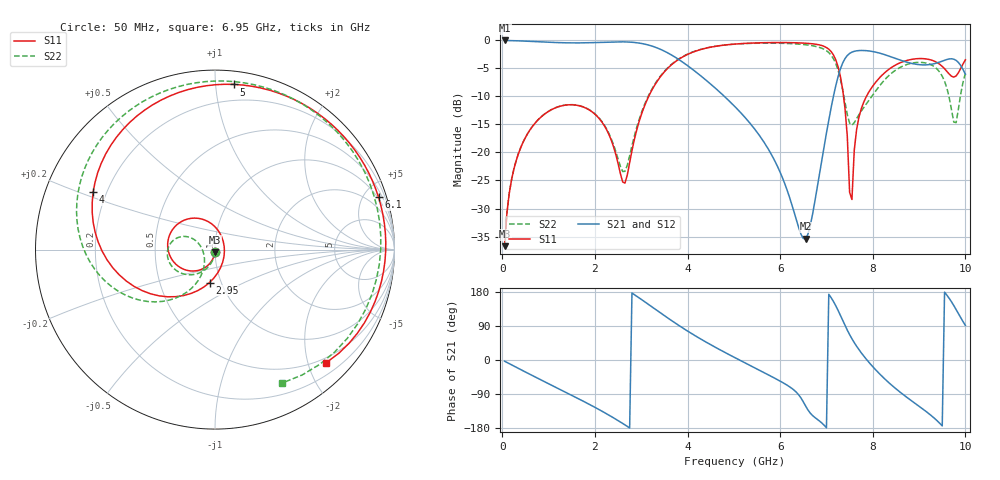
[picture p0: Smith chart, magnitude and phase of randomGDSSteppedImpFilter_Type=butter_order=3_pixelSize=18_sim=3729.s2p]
! freq	dB(S11)	phase(S11)	dB(S12)	phase(S12)
!  dB(S21)	phase(S21)	dB(S22)	phase(S22)
!S-par simulation data
#  GHz  S  DB  R 50
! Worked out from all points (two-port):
!   200 points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, 50 MHz to 10 GHz, reference 50 ohm
!   highest |S21| = -0.01 dB at 50 MHz (marker M1); lowest = -35.4 dB at 6.55 GHz (marker M2)
!   |S21| within 3 dB of the highest: start of sweep to 3.735 GHz; 7.422 GHz to 8.419 GHz (997.8 MHz wide, 12.6 % of centre)
!   lowest |S11| = -36.7 dB at 50 MHz (marker M3), VSWR 1.03, Z = 49.9 - j1.45 ohm
!   |S11| at or under -10 dB: start of sweep to 3.161 GHz; 7.368 GHz to 7.863 GHz (494.7 MHz wide, 6.5 % of centre)
!   |S22| runs from -36.7 to -0.5 dB; largest |S21 - S12| = 0
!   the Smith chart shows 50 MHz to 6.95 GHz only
!   S11 on the Smith chart (normalised r, x): 50 MHz: 1.00, -0.03; 2.95 GHz: 0.88, -0.34; 4 GHz: 0.15, +0.22; 5 GHz: 0.09, +1.12; 6.1 GHz: 0.91, +6.28; 6.95 GHz: 0.40, -2.33
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0.05  -36.72 -92.7  -0.01 -3.2  -0.01 -3.2  -36.72 -92.0
0.2  -24.85 -104.0  -0.04 -12.8  -0.04 -12.8  -24.84 -101.5
0.5  -17.32 -125.2  -0.13 -31.7  -0.13 -31.7  -17.31 -119.0
1.75  -11.89 147.5  -0.43 -108.8  -0.43 -108.8  -11.86 174.5
2.65  -25.46 -9.9  -0.26 -171.3  -0.26 -171.3  -23.35 -155.1
2.95  -14.60 -99.4  -0.47 164.3  -0.47 164.3  -14.22 -118.5
3.4  -6.64 -150.6  -1.53 125.7  -1.53 125.7  -6.52 -142.2
4  -2.50 154.8  -4.50 76.4  -4.50 76.4  -2.44 175.1
5  -0.66 83.5  -11.63 7.6  -11.63 7.6  -0.68 109.5
5.05  -0.63 80.3  -12.05 4.5  -12.05 4.5  -0.65 106.3
6.1  -0.38 17.7  -25.58 -62.7  -25.58 -62.7  -0.53 31.8
6.55  -0.50 -10.8  -35.39 -121.5  -35.39 -121.5  -0.78 -10.2
6.7  -0.60 -22.0  -31.01 -146.6  -31.01 -146.6  -0.95 -27.5
6.95  -1.07 -45.4  -18.87 -172.1  -18.87 -172.1  -1.59 -63.3
7.3  -6.39 -102.9  -5.12 118.0  -5.12 118.0  -6.85 -137.7
7.55  -28.39 20.5  -2.09 56.1  -2.09 56.1  -15.13 -145.1
7.75  -12.25 13.9  -1.80 19.2  -1.80 19.2  -12.63 -167.0
8.35  -5.15 -11.5  -2.80 -60.2  -2.80 -60.2  -6.25 63.1
8.85  -3.37 -35.9  -4.13 -108.9  -4.13 -108.9  -4.05 -6.9
9.35  -3.78 -58.6  -4.11 -155.8  -4.11 -155.8  -4.82 -70.2
9.7  -6.39 -59.3  -3.28 153.5  -3.28 153.5  -12.36 -159.1
10  -3.47 -44.7  -6.03 91.3  -6.03 91.3  -5.88 18.9
